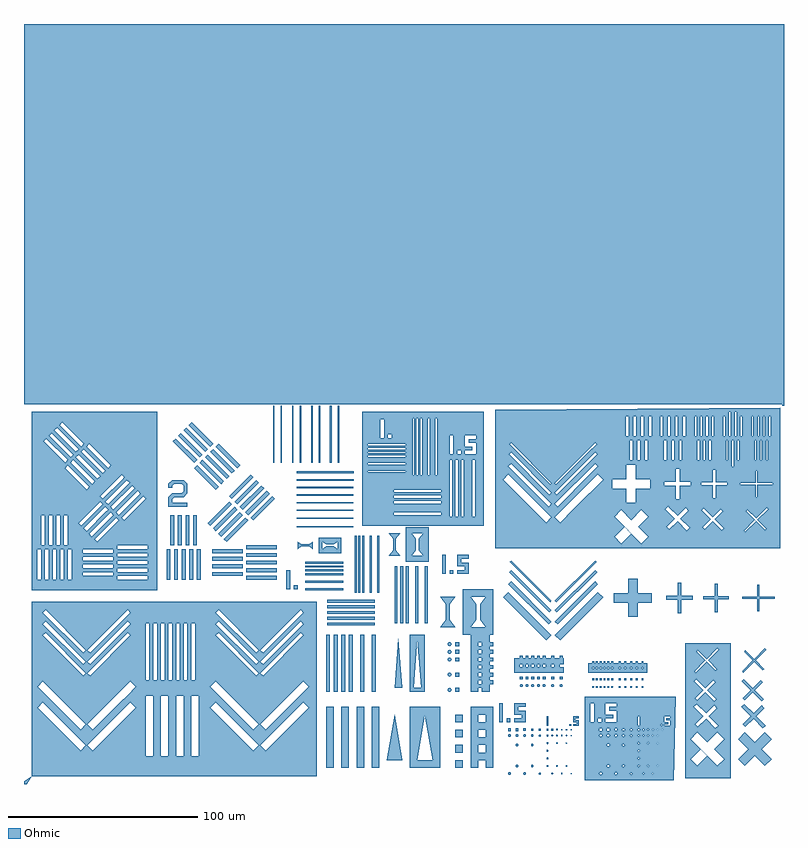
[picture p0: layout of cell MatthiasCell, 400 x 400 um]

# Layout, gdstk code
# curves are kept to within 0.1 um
import gdstk
lib = gdstk.Library(unit=1e-6, precision=1e-09)
def R(c, l, rs):  # rectangles x0, y0, x1, y1
    for r in rs: c.add(gdstk.rectangle(r[:2], r[2:], *l))
def A(c, l, x, y, w, h, nx, ny, dx, dy):  # array of equal rectangles
    R(c, l, [(x+i*dx, y+j*dy, x+i*dx+w, y+j*dy+h) for i in range(nx) for j in range(ny)])
def P(c, l, *ps):  # polygons
    for p in ps: c.add(gdstk.Polygon(p, *l))
Ohmic = (2, 0)

matthiascell = lib.new_cell('MatthiasCell')
A(matthiascell, Ohmic, 159, 8.575, 4, 32, 4, 1, 8, 0)
A(matthiascell, Ohmic, 227, 8.575, 4, 4, 1, 4, 0, 8)
A(matthiascell, Ohmic, 159, 48.575, 2, 30, 4, 1, 4, 0)
A(matthiascell, Ohmic, 227, 48.575, 2, 2, 1, 3, 0, 8)
A(matthiascell, Ohmic, 299, 54.575, 1, 1, 6, 1, 2, 0)
A(matthiascell, Ohmic, 313, 54.575, 1, 1, 5, 1, 3, 0)
A(matthiascell, Ohmic, 261, 55.075, 1.5, 1.5, 5, 1, 3, 0)
A(matthiascell, Ohmic, 159.5, 83.5, 25, 1.5, 1, 5, 0, 3)
A(matthiascell, Ohmic, 195, 84.575, 1.5, 30, 3, 1, 3, 0)
A(matthiascell, Ohmic, 174, 100.575, 1, 30, 3, 1, 2, 0)
A(matthiascell, Ohmic, 148, 102, 20, 1, 1, 3, 0, 4)
A(matthiascell, Ohmic, 75, 107.575, 2, 16, 5, 1, 4, 0)
A(matthiascell, Ohmic, 117, 107.575, 16, 2, 1, 5, 0, 4)
A(matthiascell, Ohmic, 99, 109.575, 16, 2, 1, 4, 0, 4)
A(matthiascell, Ohmic, 148, 112, 20, 1, 1, 3, 0, 2)
A(matthiascell, Ohmic, 77, 125.575, 2, 16, 4, 1, 4, 0)
R(matthiascell, Ohmic, [(254.75,27.825,256.25,29.325), (258.8,27.875,260.2,29.275), (262.85,27.925,264.15,29.225), (266.9,27.975,268.1,29.175), (270.95,28.025,272.05,29.125), (275,28.075,276,29.075), (277.55,28.125,278.45,29.025), (280.1,28.175,280.9,28.975), (282.65,28.225,283.35,28.925), (285.2,28.275,285.8,28.875), (287.75,28.325,288.25,28.825), (275,30.575,276,35.575), (287,30.575,288,31.575), (250,32.575,252,42.575), (254,32.575,256,34.575), (177,48.575,179,78.575), (183,48.575,185,78.575), (277.5,55.075,279,56.575), (282,55.075,283.5,56.575), (227,68.575,229,70.575), (227,72.575,229,74.575), (206,84.575,207.5,114.575), (211,84.575,212.5,114.575), (182,100.575,183,130.575), (186,100.575,187,130.575), (138,102.575,140,112.575), (142,102.575,144,104.575), (220,110.575,222,120.575), (224,110.575,226,112.575), (143.5,135.2,173.4,135.7), (143.5,139.7,173.4,140.2), (143.5,143.7,173.4,144.3), (143.5,147.7,173.4,148.3), (143.5,151.6,173.4,152.4), (143.5,155.6,173.4,156.4), (143.425,159.5,173.425,160.5), (143.425,163.5,173.425,164.5), (161,169.075,162,199.075), (165,169.075,166,199.075), (131.2,169.1,131.7,199), (135.2,169.1,135.7,199), (141.2,169.1,141.8,199), (145.2,169.1,145.8,199), (151.1,169.1,151.9,199), (155.1,169.1,155.9,199)])
P(matthiascell, Ohmic, [(178,136),(178,143),(194.5,143),(194.5,141.5),(219.5,141.5),(219.5,143),(178,143),(178,149),(194.5,149),(194.5,147.5),(219.5,147.5),(219.5,149),(178,149),(178,152),(194.5,152),(194.5,150.5),(219.5,150.5),(219.5,152),(178,152),(178,155),(194.5,155),(194.5,153.5),(219.5,153.5),(219.5,155),(178,155),(178,165),(181,165),(181,164),(201,164),(201,165),(178,165),(178,169),(181,169),(181,168),(201,168),(201,169),(178,169),(178,173),(181,173),(181,172),(201,172),(201,173),(178,173),(178,175),(181,175),(181,174),(201,174),(201,175),(178,175),(178,177),(181,177),(181,176),(201,176),(201,177),(178,177),(178,179),(181,179),(181,178),(201,178),(201,179),(178,179),(178,192.075),(187.5,192.075),(187.5,182.075),(189.5,182.075),(189.5,184.075),(191.5,184.075),(191.5,182.075),(193.5,182.075),(193.5,184.075),(189.5,184.075),(189.5,192.075),(178,192.075),(178,192.575),(204.5,192.575),(204.5,162.575),(205.5,162.575),(205.5,192.575),(206.5,192.575),(206.5,162.575),(207.5,162.575),(207.5,192.575),(208.5,192.575),(208.5,162.575),(209.5,162.575),(209.5,192.575),(212.5,192.575),(212.5,162.575),(213.5,162.575),(213.5,192.575),(216.5,192.575),(216.5,162.575),(217.5,162.575),(217.5,170.575),(224,170.575),(224,140.575),(225.5,140.575),(225.5,170.575),(227,170.575),(227,140.575),(228.5,140.575),(228.5,170.575),(230,170.575),(230,140.575),(231.5,140.575),(231.5,170.575),(236,170.575),(236,140.575),(237.5,140.575),(237.5,170.575),(217.5,170.575),(217.5,183.575),(224,183.575),(224,173.575),(226,173.575),(226,175.575),(228,175.575),(228,173.575),(230,173.575),(230,175.575),(226,175.575),(226,183.575),(232,183.575),(232,177.575),(236,177.575),(236,175.575),(232,175.575),(232,173.575),(238,173.575),(238,179.575),(234,179.575),(234,181.575),(238,181.575),(238,183.575),(217.5,183.575),(217.5,192.575),(178,192.575),(178,196),(242,196),(242,136)],
  [(399,199),(399,200),(0,200),(0,400),(400,400),(400,199)],
  [(195,50.575),(197,76.575),(199,50.575)],
  [(4,4),(4,43.034),(9.966,43.034),(7.138,40.205),(29.765,17.578),(32.594,20.406),(9.966,43.034),(4,43.034),(4,54.034),(9.966,54.034),(7.138,51.205),(29.765,28.578),(32.594,31.406),(9.966,54.034),(56.034,54.034),(33.406,31.406),(36.235,28.578),(50.691,43.034),(56.034,43.034),(33.406,20.406),(36.235,17.578),(58.862,40.205),(56.034,43.034),(50.691,43.034),(54.232,46.575),(64,46.575),(64,14.575),(68,14.575),(68,46.575),(72,46.575),(72,14.575),(76,14.575),(76,46.575),(80,46.575),(80,14.575),(84,14.575),(84,46.575),(88,46.575),(88,14.575),(92,14.575),(92,43.034),(100.966,43.034),(98.138,40.205),(120.765,17.578),(123.594,20.406),(100.966,43.034),(92,43.034),(92,46.575),(54.232,46.575),(58.862,51.205),(56.034,54.034),(100.966,54.034),(98.138,51.205),(120.765,28.578),(123.594,31.406),(100.966,54.034),(147.034,54.034),(124.406,31.406),(127.235,28.578),(141.691,43.034),(147.034,43.034),(124.406,20.406),(127.235,17.578),(149.862,40.205),(147.034,43.034),(141.691,43.034),(149.862,51.205),(147.034,54.034),(4,54.034),(4,79.619),(11.38,79.619),(9.966,78.205),(31.179,56.992),(32.594,58.406),(11.38,79.619),(4,79.619),(4,85.619),(11.38,85.619),(9.966,84.205),(31.179,62.992),(32.594,64.406),(11.38,85.619),(4,85.619),(4,91.619),(11.38,91.619),(9.966,90.205),(31.179,68.992),(32.594,70.406),(11.38,91.619),(54.62,91.619),(33.406,70.406),(34.821,68.992),(51.448,85.619),(54.62,85.619),(33.406,64.406),(34.821,62.992),(51.448,79.619),(54.62,79.619),(33.406,58.406),(34.821,56.992),(56.034,78.205),(54.62,79.619),(51.448,79.619),(56.034,84.205),(55.664,84.575),(64,84.575),(64,54.575),(66,54.575),(66,84.575),(68,84.575),(68,54.575),(70,54.575),(70,84.575),(72,84.575),(72,54.575),(74,54.575),(74,84.575),(76,84.575),(76,54.575),(78,54.575),(78,84.575),(80,84.575),(80,54.575),(82,54.575),(82,84.575),(84,84.575),(84,54.575),(86,54.575),(86,84.575),(88,84.575),(88,54.575),(90,54.575),(90,79.619),(102.38,79.619),(100.966,78.205),(122.179,56.992),(123.594,58.406),(102.38,79.619),(90,79.619),(90,84.575),(55.664,84.575),(54.62,85.619),(102.38,85.619),(100.966,84.205),(122.179,62.992),(123.594,64.406),(102.38,85.619),(51.448,85.619),(56.034,90.205),(54.62,91.619),(102.38,91.619),(100.966,90.205),(122.179,68.992),(123.594,70.406),(102.38,91.619),(145.62,91.619),(124.406,70.406),(125.821,68.992),(142.448,85.619),(145.62,85.619),(124.406,64.406),(125.821,62.992),(142.448,79.619),(145.62,79.619),(124.406,58.406),(125.821,56.992),(147.034,78.205),(145.62,79.619),(142.448,79.619),(147.034,84.205),(145.62,85.619),(142.448,85.619),(147.034,90.205),(145.62,91.619),(4,91.619),(4,96),(154,96),(154,4)],
  [(144,123.575),(144,127.575),(146,126.075),(150,126.075),(152,127.575),(152,123.575),(150,125.075),(146,125.075)],
  [(155,121.575),(155,127.575),(165,127.575),(163,126.075),(159,126.075),(157,127.575),(157,123.575),(159,125.075),(163,125.075),(165,123.575),(165,127.575),(155,127.575),(155,129.575),(167,129.575),(167,121.575)],
  [(192,120.075),(194.25,123.075),(194.25,129.075),(192,132.075),(198,132.075),(195.75,129.075),(195.75,123.075),(198,120.075)],
  [(106.594,127.406),(105.179,128.821),(116.493,140.134),(117.907,138.72)],
  [(103.765,130.235),(102.351,131.649),(113.665,142.963),(115.079,141.549)],
  [(100.937,133.063),(99.523,134.477),(110.836,145.791),(112.25,144.377)],
  [(98.108,135.892),(96.694,137.306),(108.008,148.62),(109.422,147.205)],
  [(120.736,138.72),(119.322,140.134),(130.635,151.448),(132.049,150.034)],
  [(117.907,141.549),(116.493,142.963),(127.807,154.276),(129.221,152.862)],
  [(115.079,144.377),(113.665,145.791),(124.978,157.105),(126.393,155.691)],
  [(112.25,147.205),(110.836,148.62),(122.15,159.933),(123.564,158.519)],
  [(76,146),(76,151),(78,153),(83,153),(84,154),(84,157),(83,158),(79,158),(78,157),(78,156),(76,156),(76,158),(78,160),(84,160),(86,158),(86,153),(84,151),(79,151),(78,150),(78,148),(86,148),(86,146)],
  [(109.422,150.034),(108.008,151.448),(119.322,162.762),(120.736,161.348)],
  [(100.971,154.971),(89.658,166.285),(91.072,167.699),(102.386,156.386)],
  [(103.8,157.8),(92.486,169.114),(93.9,170.528),(105.214,159.214)],
  [(106.628,160.628),(95.315,171.942),(96.729,173.356),(108.042,162.042)],
  [(109.457,163.457),(98.143,174.77),(99.557,176.185),(110.871,164.871)],
  [(112.285,166.285),(100.971,177.599),(102.386,179.013),(113.699,167.699)],
  [(89.658,169.114),(78.344,180.427),(79.758,181.841),(91.072,170.528)],
  [(92.486,171.942),(81.172,183.256),(82.587,184.67),(93.9,173.356)],
  [(95.315,174.77),(84.001,186.084),(85.415,187.498),(96.729,176.185)],
  [(98.143,177.599),(86.829,188.913),(88.243,190.327),(99.557,179.013)],
  [(4,102),(4,123.575),(7,123.575),(7,107.575),(9,107.575),(9,123.575),(11,123.575),(11,107.575),(13,107.575),(13,123.575),(15,123.575),(15,107.575),(17,107.575),(17,123.575),(19,123.575),(19,107.575),(21,107.575),(21,123.575),(23,123.575),(23,107.575),(25,107.575),(25,111.575),(31,111.575),(31,109.575),(49,109.575),(49,107.575),(65,107.575),(65,109.575),(47,109.575),(47,111.575),(25,111.575),(25,115.575),(31,115.575),(31,113.575),(49,113.575),(49,111.575),(65,111.575),(65,113.575),(47,113.575),(47,115.575),(25,115.575),(25,119.575),(31,119.575),(31,117.575),(49,117.575),(49,115.575),(65,115.575),(65,117.575),(47,117.575),(47,119.575),(25,119.575),(25,123.575),(31,123.575),(31,121.575),(49,121.575),(49,119.575),(65,119.575),(65,121.575),(47,121.575),(47,123.575),(4,123.575),(4,141.575),(9,141.575),(9,125.575),(11,125.575),(11,141.575),(13,141.575),(13,125.575),(15,125.575),(15,141.575),(17,141.575),(17,125.575),(19,125.575),(19,141.575),(21,141.575),(21,125.575),(49,125.575),(49,123.575),(65,123.575),(65,125.575),(23,125.575),(23,141.575),(4,141.575),(4,148.62),(40.008,148.62),(28.694,137.306),(30.108,135.892),(40.008,145.791),(42.836,145.791),(31.523,134.477),(32.937,133.063),(42.836,142.963),(45.665,142.963),(34.351,131.649),(35.765,130.235),(45.664,140.134),(48.493,140.134),(37.179,128.821),(38.594,127.406),(49.907,138.72),(48.493,140.134),(45.664,140.134),(47.079,141.549),(45.665,142.963),(42.836,142.963),(44.25,144.377),(42.836,145.791),(40.008,145.791),(41.422,147.205),(40.008,148.62),(4,148.62),(4,167.699),(23.072,167.699),(21.658,166.285),(32.971,154.971),(34.386,156.386),(23.072,167.699),(4,167.699),(4,181.841),(11.758,181.841),(10.344,180.427),(21.658,169.114),(23.072,170.528),(25.9,170.528),(24.486,169.114),(35.8,157.8),(37.214,159.214),(25.9,170.528),(23.072,170.528),(11.758,181.841),(4,181.841),(4,184.67),(14.587,184.67),(13.172,183.256),(24.486,171.942),(25.9,173.356),(28.729,173.356),(27.315,171.942),(38.628,160.628),(40.042,162.042),(39.322,162.762),(51.322,162.762),(40.008,151.448),(41.422,150.034),(51.321,159.933),(54.15,159.933),(42.836,148.62),(44.25,147.205),(54.15,157.105),(56.978,157.105),(45.665,145.791),(47.079,144.377),(56.978,154.276),(59.807,154.276),(48.493,142.963),(49.907,141.549),(59.807,151.448),(62.635,151.448),(51.322,140.134),(52.736,138.72),(64.049,150.034),(62.635,151.448),(59.807,151.448),(61.221,152.862),(59.807,154.276),(56.978,154.276),(58.393,155.691),(56.978,157.105),(54.15,157.105),(55.564,158.519),(54.15,159.933),(51.321,159.933),(52.736,161.348),(51.322,162.762),(39.322,162.762),(28.729,173.356),(25.9,173.356),(14.587,184.67),(4,184.67),(4,187.498),(17.415,187.498),(16.001,186.084),(27.315,174.77),(28.729,176.185),(31.557,176.185),(30.143,174.77),(41.457,163.457),(42.871,164.871),(31.557,176.185),(28.729,176.185),(17.415,187.498),(4,187.498),(4,190.327),(20.243,190.327),(18.829,188.913),(30.143,177.599),(31.557,179.013),(34.386,179.013),(32.971,177.599),(44.285,166.285),(45.699,167.699),(34.386,179.013),(31.557,179.013),(20.243,190.327),(4,190.327),(4,196),(70,196),(70,102)],
  [(0,0),(0,1.5),(4,4),(1.5,0)],
  [(191,12.575),(195,36.575),(199,12.575)],
  [(297,58.575),(297,61.575),(299,61.575),(299,60.575),(300,60.575),(300,61.575),(301,61.575),(301,60.575),(302,60.575),(302,61.575),(303,61.575),(303,60.575),(304,60.575),(304,61.575),(305,61.575),(305,60.575),(306,60.575),(306,61.575),(307,61.575),(307,60.575),(308,60.575),(308,61.575),(309,61.575),(309,60.575),(310,60.575),(310,61.575),(313,61.575),(313,60.575),(314,60.575),(314,61.575),(316,61.575),(316,60.575),(317,60.575),(317,61.575),(319,61.575),(319,60.575),(320,60.575),(320,61.575),(322,61.575),(322,60.575),(323,60.575),(323,61.575),(325,61.575),(325,60.575),(326,60.575),(326,61.575),(297,61.575),(297,63.575),(299,63.575),(299,64.575),(300,64.575),(300,63.575),(301,63.575),(301,64.575),(302,64.575),(302,63.575),(303,63.575),(303,64.575),(304,64.575),(304,63.575),(305,63.575),(305,64.575),(306,64.575),(306,63.575),(307,63.575),(307,64.575),(308,64.575),(308,63.575),(309,63.575),(309,64.575),(310,64.575),(310,63.575),(313,63.575),(313,64.575),(314,64.575),(314,63.575),(316,63.575),(316,64.575),(317,64.575),(317,63.575),(319,63.575),(319,64.575),(320,64.575),(320,63.575),(322,63.575),(322,64.575),(323,64.575),(323,63.575),(325,63.575),(325,64.575),(326,64.575),(326,63.575),(328,63.575),(328,58.575)],
  [(274.765,75.578),(252.138,98.205),(254.966,101.034),(277.594,78.406)],
  [(282.235,75.578),(279.406,78.406),(302.034,101.034),(304.862,98.205)],
  [(235,48.575),(235,54.575),(239,54.575),(239,52.575),(241,52.575),(241,54.575),(235,54.575),(235,58.575),(239,58.575),(239,56.575),(241,56.575),(241,58.575),(235,58.575),(235,62.575),(239,62.575),(239,60.575),(241,60.575),(241,62.575),(235,62.575),(235,66.575),(239,66.575),(239,64.575),(241,64.575),(241,66.575),(235,66.575),(235,70.575),(239,70.575),(239,68.575),(241,68.575),(241,70.575),(235,70.575),(235,74.575),(239,74.575),(239,72.575),(241,72.575),(241,74.575),(235,74.575),(235,78.575),(231,78.575),(231,98.575),(235,98.575),(238,94.575),(238,86.575),(235,82.575),(243,82.575),(240,86.575),(240,94.575),(243,98.575),(231,98.575),(231,102.575),(247,102.575),(247,78.575),(245,78.575),(245,74.575),(247,74.575),(247,72.575),(245,72.575),(245,70.575),(247,70.575),(247,68.575),(245,68.575),(245,66.575),(247,66.575),(247,64.575),(245,64.575),(245,62.575),(247,62.575),(247,60.575),(245,60.575),(245,58.575),(247,58.575),(247,56.575),(245,56.575),(245,54.575),(247,54.575),(247,52.575),(245,52.575),(245,48.575),(241,48.575),(241,50.575),(239,50.575),(239,48.575)],
  [(386,91),(386,97.5),(378,97.5),(378,98.5),(386,98.5),(386,105),(387,105),(387,98.5),(395,98.5),(395,97.5),(387,97.5),(387,91)],
  [(363.5,90.5),(363.5,97.25),(357.5,97.25),(357.5,98.75),(363.5,98.75),(363.5,105.5),(365,105.5),(365,98.75),(371,98.75),(371,97.25),(365,97.25),(365,90.5)],
  [(344,90),(344,97),(338,97),(338,99),(344,99),(344,106),(346,106),(346,99),(352,99),(352,97),(346,97),(346,90)],
  [(276.179,83.992),(254.966,105.205),(256.38,106.619),(277.594,85.406)],
  [(280.821,83.992),(279.406,85.406),(300.62,106.619),(302.034,105.205)],
  [(318,88),(318,95.5),(310.5,95.5),(310.5,100.5),(318,100.5),(318,108),(323,108),(323,100.5),(330.5,100.5),(330.5,95.5),(323,95.5),(323,88)],
  [(276.533,90.346),(255.32,111.559),(256.38,112.619),(277.594,91.406)],
  [(280.467,90.346),(279.406,91.406),(300.62,112.619),(301.68,111.559)],
  [(276.886,95.699),(255.673,116.912),(256.38,117.619),(277.594,96.406)],
  [(280.114,95.699),(279.406,96.406),(300.62,117.619),(301.327,116.912)],
  [(295,2),(295,6.25),(303.426,6.25),(303.022,6.083),(302.75,5.574),(302.917,5.022),(303.426,4.75),(303.978,4.917),(304.221,5.281),(304.221,5.719),(303.878,6.15),(311.436,6.15),(311.086,6.005),(310.85,5.564),(310.995,5.086),(311.436,4.85),(311.808,4.924),(312.125,5.31),(312.125,5.69),(311.847,6.05),(319.446,6.05),(319.149,5.927),(318.95,5.554),(319.073,5.149),(319.446,4.95),(319.851,5.073),(320.029,5.34),(320.029,5.66),(319.817,5.95),(325.956,5.95),(325.713,5.85),(325.55,5.544),(325.65,5.213),(325.956,5.05),(326.287,5.15),(326.433,5.369),(326.287,5.85),(330.966,5.85),(330.65,5.534),(330.728,5.277),(330.966,5.15),(331.31,5.334),(331.245,5.75),(335.975,5.75),(335.778,5.618),(335.806,5.341),(336.073,5.26),(336.25,5.475),(336.025,5.75),(326.044,5.95),(295,6.25),(295,10.2),(307.431,10.2),(307.054,10.044),(306.8,9.569),(306.956,9.054),(307.431,8.8),(307.946,8.956),(308.173,9.296),(308.173,9.704),(307.862,10.1),(315.441,10.1),(315.118,9.966),(314.9,9.559),(315.034,9.118),(315.441,8.9),(315.784,8.968),(316.077,9.325),(316.077,9.675),(315.832,10),(323.451,10),(323.181,9.888),(323,9.549),(323.112,9.181),(323.451,9),(323.737,9.057),(323.981,9.354),(323.801,9.9),(328.461,9.9),(328.1,9.539),(328.189,9.245),(328.461,9.1),(328.854,9.311),(328.766,9.8),(333.47,9.8),(333.234,9.642),(333.267,9.309),(333.588,9.212),(333.8,9.47),(333.53,9.8),(323.549,10),(295,10.2),(295,14),(323.451,14),(323.019,13.646),(323.112,13.181),(323.646,13.019),(324,13.451),(323.888,13.819),(323.549,14),(295,14),(295,18),(323.451,18),(323.019,17.646),(323.112,17.181),(323.646,17.019),(324,17.451),(323.888,17.819),(323.549,18),(295,18),(295,21.2),(307.431,21.2),(307.054,21.044),(306.8,20.569),(306.956,20.054),(307.431,19.8),(307.946,19.956),(308.173,20.296),(308.173,20.704),(307.862,21.1),(315.441,21.1),(314.968,20.784),(314.9,20.441),(315.034,20.118),(315.325,19.923),(315.675,19.923),(315.966,20.118),(316.1,20.441),(315.966,20.882),(315.559,21.1),(295,21.2),(295,22),(323.451,22),(323.181,21.888),(323,21.549),(323.112,21.181),(323.451,21),(323.737,21.057),(323.981,21.354),(323.801,21.9),(328.461,21.9),(328.1,21.539),(328.189,21.245),(328.461,21.1),(328.854,21.311),(328.766,21.8),(333.47,21.8),(333.234,21.642),(333.267,21.309),(333.588,21.212),(333.8,21.47),(333.53,21.8),(323.549,22),(295,22),(295,26.25),(303.426,26.25),(303.022,26.083),(302.75,25.574),(302.917,25.022),(303.426,24.75),(303.978,24.917),(304.221,25.281),(304.165,25.855),(303.77,26.2),(307.431,26.2),(307.054,26.044),(306.8,25.569),(306.956,25.054),(307.431,24.8),(307.946,24.956),(308.173,25.296),(308.12,25.832),(307.76,26.15),(311.436,26.15),(311.086,26.005),(310.85,25.564),(310.995,25.086),(311.436,24.85),(311.808,24.924),(312.125,25.31),(312.076,25.808),(311.75,26.1),(315.441,26.1),(315.118,25.966),(314.9,25.559),(315.034,25.118),(315.441,24.9),(315.784,24.968),(316.077,25.325),(316.032,25.784),(315.74,26.05),(319.446,26.05),(319.149,25.927),(318.95,25.554),(319.073,25.149),(319.446,24.95),(319.851,25.073),(320.029,25.34),(319.987,25.761),(319.73,26),(323.451,26),(323.181,25.888),(323,25.549),(323.112,25.181),(323.451,25),(323.737,25.057),(323.981,25.354),(323.943,25.737),(323.72,25.95),(325.956,25.95),(325.713,25.85),(325.55,25.544),(325.65,25.213),(325.956,25.05),(326.287,25.15),(326.433,25.369),(326.399,25.713),(326.211,25.9),(328.461,25.9),(328.1,25.539),(328.189,25.245),(328.461,25.1),(328.885,25.383),(328.695,25.85),(330.966,25.85),(330.65,25.534),(330.728,25.277),(330.966,25.15),(331.337,25.398),(331.181,25.8),(333.47,25.8),(333.2,25.53),(333.47,25.2),(333.788,25.412),(333.666,25.75),(335.975,25.75),(335.75,25.525),(335.975,25.25),(336.25,25.475),(336.025,25.75),(323.549,26),(295,26.25),(295,29.325),(302.75,29.325),(302.75,27.825),(304.25,27.825),(304.25,29.275),(306.8,29.275),(306.8,27.875),(308.2,27.875),(308.2,29.225),(310.85,29.225),(310.85,27.925),(312.15,27.925),(312.15,29.175),(314.9,29.175),(314.9,27.975),(316.1,27.975),(316.1,29.125),(318.95,29.125),(318.95,28.025),(320.05,28.025),(320.05,29.075),(323,29.075),(323,28.075),(324,28.075),(324,29.025),(325.55,29.025),(325.55,28.125),(326.45,28.125),(326.45,28.975),(328.1,28.975),(328.1,28.175),(328.9,28.175),(328.9,28.925),(330.65,28.925),(330.65,28.225),(331.35,28.225),(331.35,28.875),(333.2,28.875),(333.2,28.275),(333.8,28.275),(333.8,28.825),(335.75,28.825),(335.75,28.325),(336.25,28.325),(336.25,28.825),(304.25,29.325),(295,29.325),(295,42.575),(298,42.575),(298,32.575),(300,32.575),(300,34.575),(302,34.575),(302,32.575),(304,32.575),(304,34.575),(300,34.575),(300,42.575),(306,42.575),(306,36.575),(310,36.575),(310,34.575),(306,34.575),(306,32.575),(312,32.575),(312,35.575),(323,35.575),(323,30.575),(324,30.575),(324,31.575),(335,31.575),(335,30.575),(336,30.575),(336,31.575),(324,31.575),(324,35.575),(337,35.575),(337,32.575),(339,32.575),(339,31.575),(337,31.575),(337,30.575),(340,30.575),(340,33.575),(338,33.575),(338,34.575),(340,34.575),(340,35.575),(312,35.575),(312,38.575),(308,38.575),(308,40.575),(312,40.575),(312,42.575),(295,42.575),(295,46),(343,46),(342,2)],
  [(248,124),(248,135.374),(316.111,135.374),(310.808,130.071),(314.343,126.536),(319.646,131.839),(316.111,135.374),(248,135.374),(248,163.034),(254.966,163.034),(252.138,160.205),(274.765,137.578),(277.594,140.406),(254.966,163.034),(248,163.034),(248,168.619),(256.38,168.619),(254.966,167.205),(276.179,145.992),(277.594,147.406),(256.38,168.619),(248,168.619),(248,174.619),(256.38,174.619),(255.32,173.559),(276.533,152.346),(277.594,153.406),(256.38,174.619),(248,174.619),(248,179.619),(256.38,179.619),(255.673,178.912),(276.886,157.699),(277.594,158.406),(256.38,179.619),(300.62,179.619),(279.406,158.406),(280.114,157.699),(297.034,174.619),(300.62,174.619),(279.406,153.406),(280.467,152.346),(296.74,168.619),(300.62,168.619),(279.406,147.406),(280.821,145.992),(297.863,163.034),(302.034,163.034),(279.406,140.406),(282.235,137.578),(288.87,144.213),(324.95,144.213),(319.646,138.91),(314.343,144.213),(310.808,140.678),(324.95,126.536),(328.485,130.071),(323.182,135.374),(328.485,140.678),(324.95,144.213),(288.87,144.213),(290.719,146.062),(339.021,146.062),(337.607,144.648),(342.556,139.698),(338.314,135.456),(339.728,134.042),(343.971,138.284),(348.92,133.335),(350.335,134.749),(345.385,139.698),(349.627,143.941),(348.424,145.144),(357.809,145.144),(356.749,144.083),(361.522,139.31),(357.279,135.068),(358.34,134.007),(362.582,138.25),(367.355,133.477),(368.416,134.537),(363.91,139.043),(384.608,139.043),(378.952,133.387),(379.659,132.679),(385.315,138.336),(384.608,139.043),(363.91,139.043),(363.643,139.31),(367.886,143.553),(366.825,144.614),(362.582,140.371),(357.809,145.144),(348.424,145.144),(348.213,145.355),(343.971,141.113),(339.676,145.407),(390.972,145.407),(385.315,139.751),(380.719,144.347),(380.012,143.64),(389.912,133.74),(390.619,134.447),(386.023,139.043),(391.679,144.7),(390.972,145.407),(339.676,145.407),(339.021,146.062),(290.719,146.062),(304.862,160.205),(302.034,163.034),(297.863,163.034),(302.034,167.205),(301.239,168),(317,168),(317,160.5),(309.5,160.5),(309.5,155.5),(317,155.5),(317,148),(322,148),(322,155.5),(329.5,155.5),(329.5,160.5),(322,160.5),(322,166),(343,166),(343,159),(337,159),(337,157),(343,157),(343,150),(345,150),(345,157),(351,157),(351,159),(345,159),(345,165.5),(362.5,165.5),(362.5,158.75),(356.5,158.75),(356.5,157.25),(362.5,157.25),(362.5,150.5),(364,150.5),(364,157.25),(370,157.25),(370,158.75),(364,158.75),(364,165),(385,165),(385,158.5),(377,158.5),(377,157.5),(385,157.5),(385,151),(386,151),(386,157.5),(394,157.5),(394,158.5),(386,158.5),(386,165),(364,165),(364,165.5),(345,165.5),(345,166),(322,166),(322,168),(301.239,168),(300.62,168.619),(296.74,168.619),(301.68,173.559),(300.62,174.619),(297.034,174.619),(301.327,178.912),(300.62,179.619),(248,179.619),(248,181),(318.7,181),(318.7,170.5),(320.3,170.5),(320.3,181),(322.7,181),(322.7,170.5),(324.3,170.5),(324.3,181),(326.7,181),(326.7,170.5),(328.3,170.5),(328.3,181),(336.8,181),(336.8,170.5),(338.2,170.5),(338.2,181),(340.8,181),(340.8,170.5),(342.2,170.5),(342.2,181),(344.8,181),(344.8,170.5),(346.2,170.5),(346.2,181),(354.4,181),(354.4,170.5),(355.6,170.5),(355.6,181),(357.4,181),(357.4,170.5),(358.6,170.5),(358.6,181),(360.4,181),(360.4,170.5),(361.6,170.5),(361.6,181),(369.5,181),(369.5,170.5),(370.5,170.5),(370.5,181),(372.5,181),(372.5,167),(373.5,167),(373.5,181),(375.5,181),(375.5,170.5),(376.5,170.5),(376.5,181),(384.6,181),(384.6,170.5),(385.4,170.5),(385.4,181),(387.6,181),(387.6,170.5),(388.4,170.5),(388.4,181),(390.6,181),(390.6,170.5),(391.4,170.5),(391.4,181),(248,181),(248,193.5),(316.7,193.5),(316.7,183),(318.3,183),(318.3,193.5),(320.7,193.5),(320.7,183),(322.3,183),(322.3,193.5),(324.7,193.5),(324.7,183),(326.3,183),(326.3,193.5),(328.7,193.5),(328.7,183),(330.3,183),(330.3,193.5),(334.8,193.5),(334.8,183),(336.2,183),(336.2,193.5),(338.8,193.5),(338.8,183),(340.2,183),(340.2,193.5),(342.8,193.5),(342.8,183),(344.2,183),(344.2,193.5),(346.8,193.5),(346.8,183),(348.2,183),(348.2,193.5),(352.9,193.5),(352.9,183),(354.1,183),(354.1,193.5),(355.9,193.5),(355.9,183),(357.1,183),(357.1,193.5),(358.9,193.5),(358.9,183),(360.1,183),(360.1,193.5),(361.9,193.5),(361.9,183),(363.1,183),(363.1,193.5),(368,193.5),(368,183),(369,183),(369,193.5),(248,193.5),(248,196),(371,196),(371,183),(372,183),(372,196),(374,196),(374,183),(375,183),(375,193.5),(377,193.5),(377,183),(378,183),(378,193.5),(383.1,193.5),(383.1,183),(383.9,183),(383.9,193.5),(386.1,193.5),(386.1,183),(386.9,183),(386.9,193.5),(389.1,193.5),(389.1,183),(389.9,183),(389.9,193.5),(392.1,193.5),(392.1,183),(392.9,183),(392.9,193.5),(375,193.5),(375,196),(248,196),(248,197),(398,198),(398,124)],
  [(228,110.575),(228,112.575),(232,112.575),(232,114.575),(228,114.575),(228,120.575),(234,120.575),(234,118.575),(230,118.575),(230,116.575),(234,116.575),(234,110.575)],
  [(201,117.075),(201,132.075),(204,132.075),(206.25,129.075),(206.25,123.075),(204,120.075),(210,120.075),(207.75,123.075),(207.75,129.075),(210,132.075),(201,132.075),(201,135.075),(213,135.075),(213,117.075)],
  [(203,48.575),(203,76.575),(207,76.575),(205,50.575),(209,50.575),(207,76.575),(203,76.575),(203,78.575),(211,78.575),(211,48.575)],
  [(275.451,13),(275.112,13.181),(275,13.549),(275.181,13.888),(275.549,14),(275.888,13.819),(276,13.451),(275.819,13.112)],
  [(275.451,17),(275.112,17.181),(275,17.549),(275.181,17.888),(275.549,18),(275.888,17.819),(276,17.451),(275.819,17.112)],
  [(267.441,19.9),(267.034,20.118),(266.9,20.559),(267.118,20.966),(267.559,21.1),(267.966,20.882),(268.1,20.441),(267.882,20.034)],
  [(259.431,19.8),(258.956,20.054),(258.8,20.569),(259.054,21.044),(259.569,21.2),(260.044,20.946),(260.2,20.431),(259.946,19.956)],
  [(219,82.575),(222,86.575),(222,94.575),(219,98.575),(227,98.575),(224,94.575),(224,86.575),(227,82.575)],
  [(285.47,21.2),(285.267,21.309),(285.2,21.53),(285.309,21.733),(285.53,21.8),(285.733,21.691),(285.8,21.47),(285.691,21.267)],
  [(280.461,21.1),(280.189,21.245),(280.1,21.539),(280.245,21.811),(280.539,21.9),(280.811,21.755),(280.9,21.461),(280.755,21.189)],
  [(224.05,56.575),(223.3,56.875),(223,57.575),(223.3,58.275),(224,58.575),(224.7,58.275),(225,57.625),(224.7,56.875)],
  [(275.451,21),(275.112,21.181),(275,21.549),(275.181,21.888),(275.549,22),(275.888,21.819),(276,21.451),(275.819,21.112)],
  [(287.975,25.25),(287.806,25.341),(287.75,25.525),(287.841,25.694),(288.025,25.75),(288.194,25.659),(288.25,25.475),(288.159,25.306)],
  [(285.47,25.2),(285.267,25.309),(285.2,25.53),(285.309,25.733),(285.53,25.8),(285.733,25.691),(285.8,25.47),(285.691,25.267)],
  [(282.966,25.15),(282.728,25.277),(282.65,25.534),(282.777,25.772),(283.034,25.85),(283.272,25.723),(283.35,25.466),(283.223,25.228)],
  [(280.461,25.1),(280.189,25.245),(280.1,25.539),(280.245,25.811),(280.539,25.9),(280.811,25.755),(280.9,25.461),(280.755,25.189)],
  [(224.05,64.575),(223.3,64.875),(223,65.575),(223.3,66.275),(224,66.575),(224.7,66.275),(225,65.625),(224.7,64.875)],
  [(258,58.575),(258,63.075),(261,63.075),(261,61.575),(262.5,61.575),(262.5,63.075),(264,63.075),(264,61.575),(265.5,61.575),(265.5,63.075),(267,63.075),(267,61.575),(268.5,61.575),(268.5,63.075),(270,63.075),(270,61.575),(271.5,61.575),(271.5,63.075),(273,63.075),(273,61.575),(274.5,61.575),(274.5,63.075),(277.5,63.075),(277.5,61.575),(279,61.575),(279,63.075),(258,63.075),(258,66.075),(261,66.075),(261,67.575),(262.5,67.575),(262.5,66.075),(264,66.075),(264,67.575),(265.5,67.575),(265.5,66.075),(267,66.075),(267,67.575),(268.5,67.575),(268.5,66.075),(270,66.075),(270,67.575),(271.5,67.575),(271.5,66.075),(273,66.075),(273,67.575),(274.5,67.575),(274.5,66.075),(277.5,66.075),(277.5,67.575),(279,67.575),(279,66.075),(282,66.075),(282,67.575),(283.5,67.575),(283.5,66.075),(284,66.075),(284,63.075),(282,63.075),(282,61.575),(284,61.575),(284,58.575)],
  [(277.956,25.05),(277.65,25.213),(277.55,25.544),(277.713,25.85),(278.044,25.95),(278.35,25.787),(278.45,25.456),(278.287,25.15)],
  [(275.451,25),(275.112,25.181),(275,25.549),(275.181,25.888),(275.549,26),(275.888,25.819),(276,25.451),(275.819,25.112)],
  [(271.446,24.95),(271.073,25.149),(270.95,25.554),(271.149,25.927),(271.554,26.05),(271.927,25.851),(272.05,25.446),(271.851,25.073)],
  [(267.441,24.9),(267.034,25.118),(266.9,25.559),(267.118,25.966),(267.559,26.1),(267.966,25.882),(268.1,25.441),(267.882,25.034)],
  [(224.05,68.575),(223.3,68.875),(223,69.575),(223.3,70.275),(224,70.575),(224.7,70.275),(225,69.625),(224.7,68.875)],
  [(224.05,72.575),(223.3,72.875),(223,73.575),(223.3,74.275),(224,74.575),(224.7,74.275),(225,73.625),(224.7,72.875)],
  [(263.436,24.85),(262.995,25.086),(262.85,25.564),(263.086,26.005),(263.564,26.15),(264.005,25.914),(264.15,25.436),(263.914,24.995)],
  [(259.431,24.8),(258.956,25.054),(258.8,25.569),(259.054,26.044),(259.569,26.2),(260.044,25.946),(260.2,25.431),(259.946,24.956)],
  [(255.426,24.75),(254.917,25.022),(254.75,25.574),(255.022,26.083),(255.574,26.25),(256.083,25.978),(256.25,25.426),(255.978,24.917)],
  [(255.426,4.75),(254.917,5.022),(254.75,5.574),(255.022,6.083),(255.574,6.25),(256.083,5.978),(256.25,5.426),(255.978,4.917)],
  [(285.47,9.2),(285.267,9.309),(285.2,9.53),(285.309,9.733),(285.53,9.8),(285.733,9.691),(285.8,9.47),(285.691,9.267)],
  [(280.461,9.1),(280.189,9.245),(280.1,9.539),(280.245,9.811),(280.539,9.9),(280.811,9.755),(280.9,9.461),(280.755,9.189)],
  [(289,30.575),(289,31.575),(291,31.575),(291,32.575),(289,32.575),(289,35.575),(292,35.575),(292,34.575),(290,34.575),(290,33.575),(292,33.575),(292,30.575)],
  [(287.975,5.25),(287.806,5.341),(287.75,5.525),(287.841,5.694),(288.025,5.75),(288.194,5.659),(288.25,5.475),(288.159,5.306)],
  [(275.451,9),(275.112,9.181),(275,9.549),(275.181,9.888),(275.549,10),(275.888,9.819),(276,9.451),(275.819,9.112)],
  [(282.966,5.15),(282.728,5.277),(282.65,5.534),(282.777,5.772),(283.034,5.85),(283.272,5.723),(283.35,5.466),(283.223,5.228)],
  [(277.956,5.05),(277.65,5.213),(277.55,5.544),(277.713,5.85),(278.044,5.95),(278.35,5.787),(278.45,5.456),(278.287,5.15)],
  [(271.446,4.95),(271.073,5.149),(270.95,5.554),(271.149,5.927),(271.554,6.05),(271.927,5.851),(272.05,5.446),(271.851,5.073)],
  [(263.436,4.85),(262.995,5.086),(262.85,5.564),(263.086,6.005),(263.564,6.15),(264.005,5.914),(264.15,5.436),(263.914,4.995)],
  [(203,8.575),(203,36.575),(211,36.575),(207,12.575),(215,12.575),(211,36.575),(203,36.575),(203,40.575),(219,40.575),(219,8.575)],
  [(235,8.575),(235,20.575),(239,20.575),(239,16.575),(243,16.575),(243,20.575),(235,20.575),(235,28.575),(239,28.575),(239,24.575),(243,24.575),(243,28.575),(235,28.575),(235,36.575),(239,36.575),(239,32.575),(243,32.575),(243,36.575),(235,36.575),(235,40.575),(247,40.575),(247,8.575),(243,8.575),(243,12.575),(239,12.575),(239,8.575)],
  [(258,32.575),(258,34.575),(262,34.575),(262,36.575),(258,36.575),(258,42.575),(264,42.575),(264,40.575),(260,40.575),(260,38.575),(264,38.575),(264,32.575)],
  [(267.441,8.9),(267.034,9.118),(266.9,9.559),(267.118,9.966),(267.559,10.1),(267.966,9.882),(268.1,9.441),(267.882,9.034)],
  [(224.05,48.575),(223.3,48.875),(223,49.575),(223.3,50.275),(224,50.575),(224.7,50.275),(225,49.625),(224.7,48.875)],
  [(299.5,50.575),(299.15,50.725),(299,51.075),(299.15,51.425),(299.5,51.575),(299.85,51.425),(300,51.075),(299.85,50.725)],
  [(261.75,51.075),(261.3,51.225),(261.1,51.475),(261,51.825),(261.1,52.175),(261.4,52.475),(261.75,52.575),(262.1,52.475),(262.4,52.175),(262.5,51.825),(262.4,51.475),(262.2,51.225)],
  [(264.75,51.075),(264.3,51.225),(264.1,51.475),(264,51.825),(264.1,52.175),(264.4,52.475),(264.75,52.575),(265.1,52.475),(265.4,52.175),(265.5,51.825),(265.4,51.475),(265.2,51.225)],
  [(267.75,51.075),(267.3,51.225),(267.1,51.475),(267,51.825),(267.1,52.175),(267.4,52.475),(267.75,52.575),(268.1,52.475),(268.4,52.175),(268.5,51.825),(268.4,51.475),(268.2,51.225)],
  [(270.75,51.075),(270.3,51.225),(270.1,51.475),(270,51.825),(270.1,52.175),(270.4,52.475),(270.75,52.575),(271.1,52.475),(271.4,52.175),(271.5,51.825),(271.4,51.475),(271.2,51.225)],
  [(273.75,51.075),(273.3,51.225),(273.1,51.475),(273,51.825),(273.1,52.175),(273.4,52.475),(273.75,52.575),(274.1,52.475),(274.4,52.175),(274.5,51.825),(274.4,51.475),(274.2,51.225)],
  [(278.25,51.075),(277.8,51.225),(277.6,51.475),(277.5,51.825),(277.6,52.175),(277.9,52.475),(278.25,52.575),(278.6,52.475),(278.9,52.175),(279,51.825),(278.9,51.475),(278.7,51.225)],
  [(282.75,51.075),(282.3,51.225),(282.1,51.475),(282,51.825),(282.1,52.175),(282.4,52.475),(282.75,52.575),(283.1,52.475),(283.4,52.175),(283.5,51.825),(283.4,51.475),(283.2,51.225)],
  [(259.431,8.8),(258.956,9.054),(258.8,9.569),(259.054,10.044),(259.569,10.2),(260.044,9.946),(260.2,9.431),(259.946,8.956)],
  [(305.5,50.575),(305.15,50.725),(305,51.075),(305.15,51.425),(305.5,51.575),(305.85,51.425),(306,51.075),(305.85,50.725)],
  [(307.5,50.575),(307.15,50.725),(307,51.075),(307.15,51.425),(307.5,51.575),(307.85,51.425),(308,51.075),(307.85,50.725)],
  [(309.5,50.575),(309.15,50.725),(309,51.075),(309.15,51.425),(309.5,51.575),(309.85,51.425),(310,51.075),(309.85,50.725)],
  [(313.5,50.575),(313.15,50.725),(313,51.075),(313.15,51.425),(313.5,51.575),(313.85,51.425),(314,51.075),(313.85,50.725)],
  [(316.5,50.575),(316.15,50.725),(316,51.075),(316.15,51.425),(316.5,51.575),(316.85,51.425),(317,51.075),(316.85,50.725)],
  [(319.5,50.575),(319.15,50.725),(319,51.075),(319.15,51.425),(319.5,51.575),(319.85,51.425),(320,51.075),(319.85,50.725)],
  [(322.5,50.575),(322.15,50.725),(322,51.075),(322.15,51.425),(322.5,51.575),(322.85,51.425),(323,51.075),(322.85,50.725)],
  [(325.5,50.575),(325.15,50.725),(325,51.075),(325.15,51.425),(325.5,51.575),(325.85,51.425),(326,51.075),(325.85,50.725)],
  [(388.92,29.335),(383.971,34.284),(379.728,30.042),(378.314,31.456),(382.556,35.698),(377.607,40.648),(379.021,42.062),(383.971,37.113),(388.213,41.355),(389.627,39.941),(385.385,35.698),(390.335,30.749)],
  [(389.95,9.536),(375.808,23.678),(379.343,27.213),(384.646,21.91),(389.95,27.213),(393.485,23.678),(388.182,18.374),(393.485,13.071)],
  [(348,3),(348,18.374),(356.111,18.374),(350.808,13.071),(354.343,9.536),(359.646,14.839),(356.111,18.374),(348,18.374),(348,27.213),(364.95,27.213),(359.646,21.91),(354.343,27.213),(350.808,23.678),(364.95,9.536),(368.485,13.071),(363.182,18.374),(368.485,23.678),(364.95,27.213),(348,27.213),(348,42.062),(354.021,42.062),(352.607,40.648),(357.556,35.698),(353.314,31.456),(354.728,30.042),(358.971,34.284),(363.92,29.335),(365.335,30.749),(360.385,35.698),(364.627,39.941),(363.213,41.355),(358.971,37.113),(354.021,42.062),(348,42.062),(348,55.144),(353.809,55.144),(352.749,54.083),(357.522,49.31),(353.279,45.068),(354.34,44.007),(358.582,48.25),(363.355,43.477),(364.416,44.537),(359.643,49.31),(363.886,53.553),(362.825,54.614),(358.582,50.371),(353.809,55.144),(348,55.144),(348,65.043),(358.608,65.043),(352.952,59.387),(353.659,58.679),(359.315,64.336),(358.608,65.043),(348,65.043),(348,71.407),(364.972,71.407),(359.315,65.751),(354.719,70.347),(354.012,69.64),(363.912,59.74),(364.619,60.447),(360.023,65.043),(365.679,70.7),(364.972,71.407),(348,71.407),(348,74),(372,74),(372,3)],
  [(379.343,9.536),(375.808,13.071),(381.111,18.374),(384.646,14.839)],
  [(378.659,58.679),(377.952,59.387),(383.608,65.043),(384.315,64.336)],
  [(388.912,59.74),(379.012,69.64),(379.719,70.347),(384.315,65.751),(389.972,71.407),(390.679,70.7),(385.023,65.043),(389.619,60.447)],
  [(388.355,43.477),(383.582,48.25),(379.34,44.007),(378.279,45.068),(382.522,49.31),(377.749,54.083),(378.809,55.144),(383.582,50.371),(387.825,54.614),(388.886,53.553),(384.643,49.31),(389.416,44.537)],
  [(301.5,50.575),(301.15,50.725),(301,51.075),(301.15,51.425),(301.5,51.575),(301.85,51.425),(302,51.075),(301.85,50.725)],
  [(303.5,50.575),(303.15,50.725),(303,51.075),(303.15,51.425),(303.5,51.575),(303.85,51.425),(304,51.075),(303.85,50.725)])

lib.write_gds('MatthiasCell.gds')
